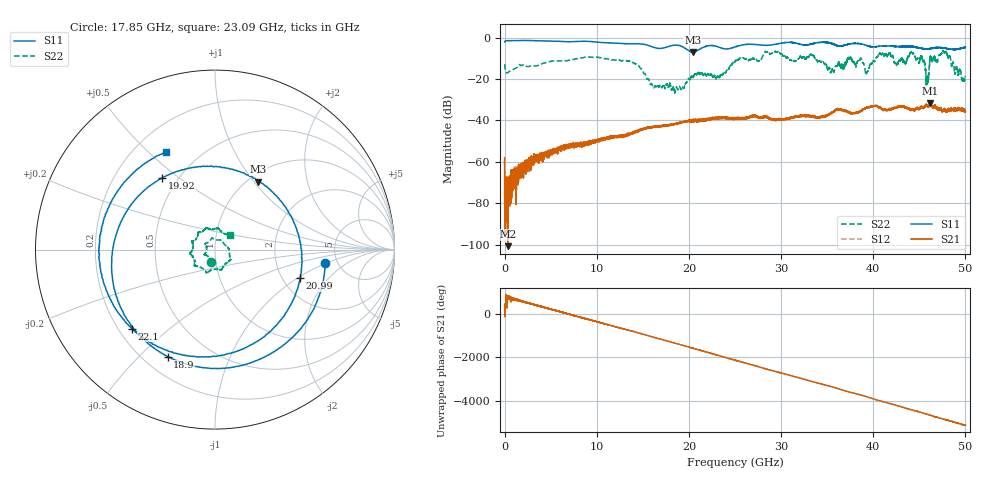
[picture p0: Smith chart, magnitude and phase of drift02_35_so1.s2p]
!Created with skrf (http://scikit-rf.org).
# Hz S RI R 50.0
!freq ReS11 ImS11 ReS21 ImS21 ReS12 ImS12 ReS22 ImS22
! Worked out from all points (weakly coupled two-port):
!   10001 points, 300 kHz to 50 GHz, reference 50 ohm
!   highest |S21| = -31.58 dB at 46.21 GHz (marker M1); lowest = -100.8 dB at 385.3 MHz (marker M2)
!   lowest |S11| = -6.9 dB at 20.41 GHz (marker M3), VSWR 2.63, Z = 55.4 + j52.7 ohm
!   |S11| at or under -10 dB: nowhere
!   |S22| runs from -26.8 to -6.1 dB; largest |S21 - S12| = 0.0029
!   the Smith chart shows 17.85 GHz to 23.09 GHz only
!   S11 on the Smith chart (normalised r, x): 17.85 GHz: 3.99, -0.94; 18.9 GHz: 0.29, -0.61; 19.92 GHz: 0.41, +0.43; 20.99 GHz: 2.49, -1.05; 22.1 GHz: 0.25, -0.38; 23.09 GHz: 0.33, +0.57
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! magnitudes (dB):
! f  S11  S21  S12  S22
! 300 kHz  -2.1  -58.0  -59.4  -12.8
! 385.3 MHz  -1.4  -100.8  -67.5  -16.8
! 3.12 GHz  -1.4  -59.6  -59.6  -13.4
! 8.335 GHz  -1.7  -51.6  -51.2  -9.7
! 13.71 GHz  -3.0  -46.0  -46.2  -11.7
! 16.67 GHz  -5.2  -43.0  -42.9  -23.6
! 17.85 GHz  -4.2  -42.4  -42.3  -22.8
! 18.9 GHz  -3.7  -41.3  -41.3  -24.0
! 19.92 GHz  -6.1  -40.2  -40.5  -19.8
! 20.41 GHz  -6.9  -40.2  -40.3  -19.1
! 20.99 GHz  -6.0  -40.5  -40.0  -16.8
! 22.1 GHz  -3.9  -39.5  -39.5  -17.6
! 23.09 GHz  -4.3  -38.7  -39.3  -18.8
! 25 GHz  -4.5  -38.8  -38.9  -11.5
! 33.34 GHz  -3.0  -37.9  -37.7  -8.4
! 39.32 GHz  -3.8  -33.9  -33.6  -16.9
! 41.67 GHz  -4.0  -34.9  -34.7  -7.8
! 44.26 GHz  -4.3  -34.7  -34.7  -7.4
! 45.86 GHz  -5.4  -33.0  -33.0  -20.7
! 46.21 GHz  -5.3  -31.6  -31.7  -9.1
! 47.76 GHz  -5.0  -34.4  -34.8  -7.1
! 50 GHz  -4.7  -35.6  -36.2  -18.9
